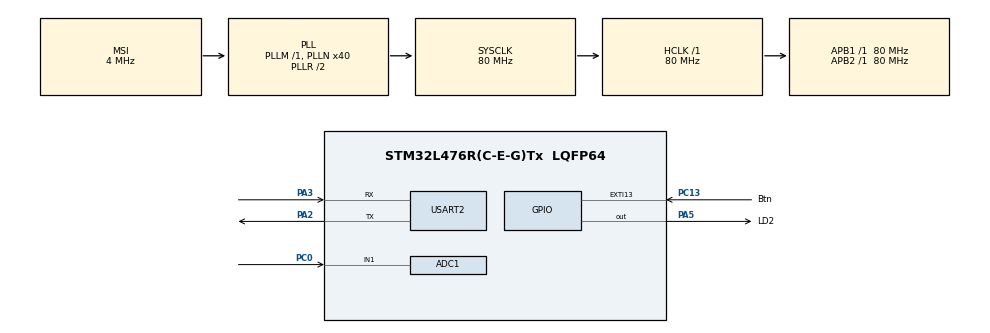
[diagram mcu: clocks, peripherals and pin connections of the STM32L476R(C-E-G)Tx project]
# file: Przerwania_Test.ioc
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ADC1.Channel-0\#ChannelRegularConversion=ADC_CHANNEL_1
ADC1.ContinuousConvMode=ENABLE
ADC1.DMAContinuousRequests=ENABLE
ADC1.NbrOfConversionFlag=1
ADC1.OffsetNumber-0\#ChannelRegularConversion=ADC_OFFSET_NONE
ADC1.Overrun=ADC_OVR_DATA_OVERWRITTEN
ADC1.Rank-0\#ChannelRegularConversion=1
ADC1.SamplingTime-0\#ChannelRegularConversion=ADC_SAMPLETIME_640CYCLES_5
ADC1.master=1
Dma.ADC1.0.Direction=DMA_PERIPH_TO_MEMORY
Dma.ADC1.0.Instance=DMA1_Channel1
Dma.ADC1.0.MemDataAlignment=DMA_MDATAALIGN_WORD
Dma.ADC1.0.MemInc=DMA_MINC_ENABLE
Dma.ADC1.0.Mode=DMA_CIRCULAR
Dma.ADC1.0.PeriphDataAlignment=DMA_PDATAALIGN_WORD
Dma.ADC1.0.PeriphInc=DMA_PINC_DISABLE
Dma.ADC1.0.Priority=DMA_PRIORITY_LOW
Dma.Request0=ADC1
Mcu.Family=STM32L4
Mcu.Name=STM32L476R(C-E-G)Tx
Mcu.Package=LQFP64
NVIC.DMA1_Channel1_IRQn=true\:2\:0\:true\:false\:true\:true\:true
NVIC.EXTI15_10_IRQn=true\:8\:0\:true\:false\:true\:true\:true
NVIC.PriorityGroup=NVIC_PRIORITYGROUP_4
NVIC.USART2_IRQn=true\:12\:0\:true\:false\:true\:true\:true
PA2.Mode=Asynchronous
PA2.Signal=USART2_TX
PA3.Mode=Asynchronous
PA3.Signal=USART2_RX
PA5.GPIO_Label=LD2
PA5.Signal=GPIO_Output
PC0.Signal=ADCx_IN1
PC13.GPIO_Label=Btn
PC13.Signal=GPXTI13
ProjectManager.HeapSize=0x200
ProjectManager.StackSize=0x400
ProjectManager.TargetToolchain=STM32CubeIDE
RCC.ADCFreq_Value=32000000
RCC.AHBFreq_Value=80000000
RCC.APB1Freq_Value=80000000
RCC.APB1TimFreq_Value=80000000
RCC.APB2Freq_Value=80000000
RCC.APB2TimFreq_Value=80000000
RCC.CortexFreq_Value=80000000
RCC.HCLKFreq_Value=80000000
RCC.HSE_VALUE=8000000
RCC.HSI_VALUE=16000000
RCC.LSE_VALUE=32768
RCC.MSI_VALUE=4000000
RCC.PLLN=40
RCC.PLLSAI1N=16
RCC.SYSCLKFreq_VALUE=80000000
RCC.SYSCLKSource=RCC_SYSCLKSOURCE_PLLCLK
RCC.USBFreq_Value=32000000
RCC.VCOOutputFreq_Value=160000000
SH.ADCx_IN1.0=ADC1_IN1,IN1-Single-Ended
USART2.VirtualMode-Asynchronous=VM_ASYNC
board=custom

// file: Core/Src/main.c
/* USER CODE BEGIN Header */
/**
  ******************************************************************************
  * @file           : main.c
  * @brief          : Main program body
  ******************************************************************************
  * @attention
  *
  * Copyright (c) 2022 STMicroelectronics.
  * All rights reserved.
  *
  * This software is licensed under terms that can be found in the LICENSE file
  * in the root directory of this software component.
  * If no LICENSE file comes with this software, it is provided AS-IS.
  *
  ******************************************************************************
  */
/* USER CODE END Header */
#include "main.h"
#include "adc.h"
#include "dma.h"
#include "usart.h"
#include "gpio.h"

/* USER CODE BEGIN Includes */
#include <stdio.h>
#include <stdbool.h>
#include "printf_uart.h"
#include "read_buffer.h"
#include <string.h>
/* USER CODE END Includes */

void SystemClock_Config(void);

/* USER CODE BEGIN 0 */
volatile uint16_t BtnCounter;
uint16_t BtnCounter_Old;

typedef enum{
	MESSAGE_1,
	MESSAGE_2,
	MESSAGE_3,
	DONE
}sender_state;

sender_state message_number = MESSAGE_1;

void send_message(void)
{
	static char message[] = "Hello World!\r\n";
	static char message2[] = "Forbot jest super!\r\n";
	static char message3[] = "Za trzecim razem zadziala!\r\n";

	switch (message_number) {
		case MESSAGE_1:
			HAL_UART_Transmit_IT(&huart2, (uint8_t*)message, strlen(message));
			message_number = MESSAGE_2;
			break;
		case MESSAGE_2:
			HAL_UART_Transmit_IT(&huart2, (uint8_t*)message2, strlen(message2));
			message_number = MESSAGE_3;
			break;
		case MESSAGE_3:
			HAL_UART_Transmit_IT(&huart2, (uint8_t*)message3, strlen(message3));
			message_number = DONE;
			break;
		default:
			break;
	}
}

uint8_t uart_rx_buffer;

void HAL_UART_RxCpltCallback(UART_HandleTypeDef *huart)
{
	if(huart == &huart2)
	{
		line_append(uart_rx_buffer);
		HAL_UART_Receive_IT(&huart2, &uart_rx_buffer, 1);
	}
}

/* USER CODE END 0 */

int main(void)
{

  /* MCU Configuration--------------------------------------------------------*/

  /* Reset of all peripherals, Initializes the Flash interface and the Systick. */
  HAL_Init();

  /* Configure the system clock */
  SystemClock_Config();

  /* Initialize all configured peripherals */
  MX_GPIO_Init();
  MX_USART2_UART_Init();
  MX_DMA_Init();
  MX_ADC1_Init();
  /* USER CODE BEGIN 2 */
//volatile ponieważ program nie modyfikuje zmiennej w glownej petli, static poniewaz zmienna ma byc traktowana jak globalna i nie moze zostac nadpisana
  volatile static uint32_t measure;
  send_message();
  HAL_UART_Receive_IT(&huart2, &uart_rx_buffer, 1);
  HAL_ADCEx_Calibration_Start(&hadc1, ADC_SINGLE_ENDED);
 //HAL_ADC_Start(&hadc1);
  HAL_ADC_Start_DMA(&hadc1, &measure, 1);

  /* USER CODE END 2 */

  /* Infinite loop */
  /* USER CODE BEGIN WHILE */

  while (1)
  {

	 if(BtnCounter != BtnCounter_Old)
	 {
		if(BtnCounter == 1)
		{
			printf("Wcisnieto przycisk tylko %d raz\n", BtnCounter);
		}else{
		printf("Wcisnieto przycisk juz %d razy\n", BtnCounter);
		}
		BtnCounter_Old = BtnCounter;
	 }

//	 measure = HAL_ADC_GetValue(&hadc1);
	 printf("ADC = %u\n", measure);

	 HAL_Delay(250);

	 // printf("System tick = %lu\n", HAL_GetTick());
	//  SysTick_Handler();

    /* USER CODE END WHILE */

  }
}

void SystemClock_Config(void)
{
  RCC_OscInitTypeDef RCC_OscInitStruct = {0};
  RCC_ClkInitTypeDef RCC_ClkInitStruct = {0};

  /** Configure the main internal regulator output voltage
  */
  if (HAL_PWREx_ControlVoltageScaling(PWR_REGULATOR_VOLTAGE_SCALE1) != HAL_OK)
  {
    Error_Handler();
  }
  /** Initializes the RCC Oscillators according to the specified parameters
  * in the RCC_OscInitTypeDef structure.
  */
  RCC_OscInitStruct.OscillatorType = RCC_OSCILLATORTYPE_MSI;
  RCC_OscInitStruct.MSIState = RCC_MSI_ON;
  RCC_OscInitStruct.MSICalibrationValue = 0;
  RCC_OscInitStruct.MSIClockRange = RCC_MSIRANGE_6;
  RCC_OscInitStruct.PLL.PLLState = RCC_PLL_ON;
  RCC_OscInitStruct.PLL.PLLSource = RCC_PLLSOURCE_MSI;
  RCC_OscInitStruct.PLL.PLLM = 1;
  RCC_OscInitStruct.PLL.PLLN = 40;
  RCC_OscInitStruct.PLL.PLLP = RCC_PLLP_DIV7;
  RCC_OscInitStruct.PLL.PLLQ = RCC_PLLQ_DIV2;
  RCC_OscInitStruct.PLL.PLLR = RCC_PLLR_DIV2;
  if (HAL_RCC_OscConfig(&RCC_OscInitStruct) != HAL_OK)
  {
    Error_Handler();
  }
  /** Initializes the CPU, AHB and APB buses clocks
  */
  RCC_ClkInitStruct.ClockType = RCC_CLOCKTYPE_HCLK|RCC_CLOCKTYPE_SYSCLK
                              |RCC_CLOCKTYPE_PCLK1|RCC_CLOCKTYPE_PCLK2;
  RCC_ClkInitStruct.SYSCLKSource = RCC_SYSCLKSOURCE_PLLCLK;
  RCC_ClkInitStruct.AHBCLKDivider = RCC_SYSCLK_DIV1;
  RCC_ClkInitStruct.APB1CLKDivider = RCC_HCLK_DIV1;
  RCC_ClkInitStruct.APB2CLKDivider = RCC_HCLK_DIV1;

  if (HAL_RCC_ClockConfig(&RCC_ClkInitStruct, FLASH_LATENCY_4) != HAL_OK)
  {
    Error_Handler();
  }
}

/* USER CODE BEGIN 4 */

void HAL_GPIO_EXTI_Callback(uint16_t GPIO_Pin)
{
	if(GPIO_Pin == Btn_Pin)
	{
		BtnCounter ++;

	}
}

void HAL_UART_TxCpltCallback(UART_HandleTypeDef *huart)
{
	if(huart == &huart2)
	{
		send_message();
	}

}

/* USER CODE END 4 */

void Error_Handler(void)
{
  __disable_irq();
  while (1)
  {
  }
}
